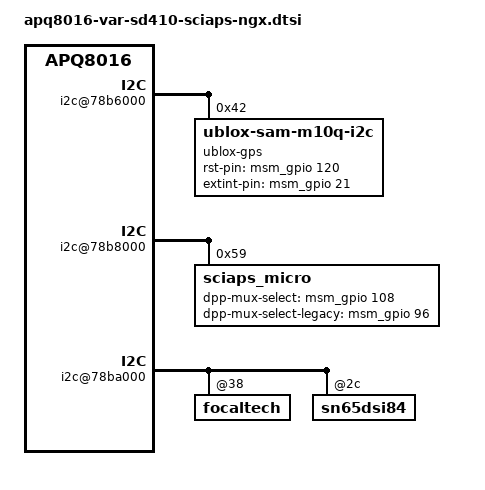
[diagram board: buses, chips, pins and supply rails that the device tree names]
/* Copyright (c) 2015, The Linux Foundation. All rights reserved.
 *
 * This program is free software; you can redistribute it and/or modify
 * it under the terms of the GNU General Public License version 2 and
 * only version 2 as published by the Free Software Foundation.
 *
 * This program is distributed in the hope that it will be useful,
 * but WITHOUT ANY WARRANTY; without even the implied warranty of
 * MERCHANTABILITY or FITNESS FOR A PARTICULAR PURPOSE.  See the
 * GNU General Public License for more details.
 */

#include "apq8016-var-sd410.dtsi"
#include "apq8016-camera-sensor-var-sd410-sciaps-ngx.dtsi"

&soc {
	i2c@78b6000 { /* BLSP1 QUP2 */
	    status = "ok";
		ublox-gps@42 {
			compatible = "ublox-sam-m10q-i2c";
			reg = <0x42>;
			ubx,hAccRejectHardThreshold		= <35000>;	// mm
			ubx,pDOPRejectHardThreshold		= <3000>;	// 0.01
			ubx,pDOPRejectThreshold			= <1000>;	// 0.01
			ubx,hAccAcceptThreshold			= <15000>;	// mm
			ubx,nSatsAcceptAlwaysThreshold	= <5>;		// # of sats
			ublox,rst-pin-gpio		= <&msm_gpio 120 0>;
			ublox,extint-pin-gpio	= <&msm_gpio 21 0>;
			status = "ok";
		};
	};

	i2c@78b8000 { /* BLSP1 QUP4 */
        status = "ok";

		sciaps_micro@59 {
			compatible = "sciaps_micro";
			pinctrl-names = "dpp_mux_select_active";
			pinctrl-0 = <&gpio_dpp_mux_select_active &gpio_dpp_mux_select_legacy_active>;
			sciaps,dpp-mux-select			= <&msm_gpio 108 0>;
			sciaps,dpp-mux-select-legacy	= <&msm_gpio 96 0>;
			reg = <0x59>;
			status = "ok";
		};
	};

	i2c@78ba000 { /* BLSP1 QUP6 */
		status = "ok";
		focaltech@38{
			status = "ok";
		};

		sn65dsi84@2c {
			status = "ok";
		};
	};
};

&mdss_fb0 {
	sciaps,mdss-fb-splash-multi-image-group = <30>;
};

